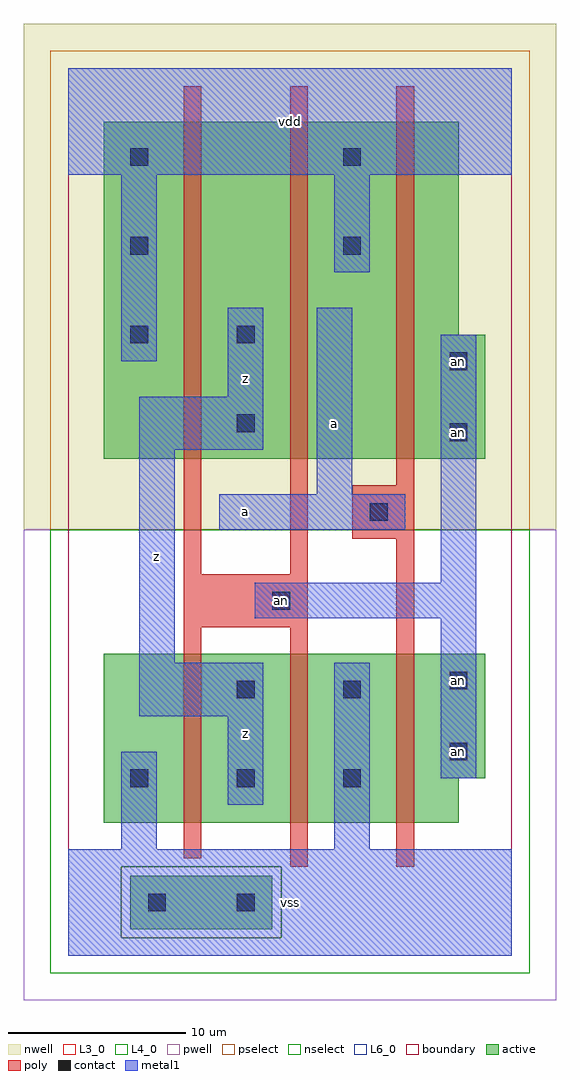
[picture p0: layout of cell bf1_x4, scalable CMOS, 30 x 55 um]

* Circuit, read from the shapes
.subckt bf1_x4 a an vdd vss z
M1 z an vss vss nfet w=9.5u l=1u m=2
M2 an a vss vss nfet w=9.5u l=1u
M3 z an vdd n1 pfet w=19u l=1u m=2
M4 an a vdd n1 pfet w=19u l=1u
.ends

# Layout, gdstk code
import gdstk
lib = gdstk.Library(unit=1e-6, precision=1e-09)
def R(c, l, rs):  # rectangles x0, y0, x1, y1
    for r in rs: c.add(gdstk.rectangle(r[:2], r[2:], *l))
def A(c, l, x, y, w, h, nx, ny, dx, dy):  # array of equal rectangles
    R(c, l, [(x+i*dx, y+j*dy, x+i*dx+w, y+j*dy+h) for i in range(nx) for j in range(ny)])
L3_0 = (3, 0)
L4_0 = (4, 0)
L6_0 = (6, 0)
contact = (25, 0)
pwell = (41, 0)
nwell = (42, 0)
active = (43, 0)
pselect = (44, 0)
nselect = (45, 0)
poly = (46, 0)
metal1 = (49, 0)
boundary = (63, 0)

bf1_x4 = lib.new_cell('bf1_x4')
R(bf1_x4, L3_0, [(2,7.5,22,10), (2,10,23.5,17)])
R(bf1_x4, L4_0, [(2,28,23.5,35), (2,35,22,47)])
R(bf1_x4, L6_0, [(3.5,1.5,11.5,4.5)])
A(bf1_x4, contact, 3.5, 9.5, 1, 1, 3, 1, 6, 0)
A(bf1_x4, contact, 3.5, 34.5, 1, 1, 1, 3, 0, 5)
R(bf1_x4, contact, [(4.5,2.5,5.5,3.5), (9.5,2.5,10.5,3.5), (21.5,11,22.5,12), (9.5,14.5,10.5,15.5), (15.5,14.5,16.5,15.5), (21.5,15,22.5,16), (11.5,19.5,12.5,20.5), (17,24.5,18,25.5), (21.5,29,22.5,30), (9.5,29.5,10.5,30.5), (21.5,33,22.5,34), (9.5,34.5,10.5,35.5), (15.5,39.5,16.5,40.5), (15.5,44.5,16.5,45.5)])
R(bf1_x4, pwell, [(-2.5,-2.5,27.5,24)])
R(bf1_x4, nwell, [(-2.5,24,27.5,52.5)])
R(bf1_x4, active, [(3.5,1.5,11.5,4.5), (2,7.5,22,10), (2,10,23.5,17), (2,28,23.5,35), (2,35,22,47)])
R(bf1_x4, pselect, [(3,1,12,5), (-1,24,26,51)])
R(bf1_x4, nselect, [(-1,-1,26,1), (-1,1,3,5), (12,1,26,5), (-1,5,26,24)])
R(bf1_x4, poly, [(12.5,5,13.5,18.5), (18.5,5,19.5,23.5), (6.5,5.5,7.5,18.5), (6.5,18.5,13.5,21.5), (6.5,21.5,7.5,49), (12.5,21.5,13.5,49), (16,23.5,19.5,26.5), (18.5,26.5,19.5,49)])
R(bf1_x4, metal1, [(0,0,25,6), (0,0,25,6), (3,6,5,11.5), (3,6,5,11.5), (15,6,17,16.5), (15,6,17,16.5), (9,8.5,11,13.5), (9,8.5,11,13.5), (21,10,23,19), (21,10,23,19), (4,13.5,11,16.5), (4,13.5,11,16.5), (4,16.5,6,28.5), (4,16.5,6,28.5), (10.5,19,23,21), (10.5,19,23,21), (21,21,23,35), (21,21,23,35), (8.5,24,19,26), (8.5,24,19,26), (14,26,16,36.5), (14,26,16,36.5), (4,28.5,11,31.5), (4,28.5,11,31.5), (9,31.5,11,36.5), (9,31.5,11,36.5), (3,33.5,5,44), (3,33.5,5,44), (15,38.5,17,44), (15,38.5,17,44), (0,44,25,50), (0,44,25,50)])
R(bf1_x4, boundary, [(0,0,25,50)])
bf1_x4.add(gdstk.Label('an', (12,20), layer=49, texttype=0))
bf1_x4.add(gdstk.Label('an', (22,11.5), layer=49, texttype=0))
bf1_x4.add(gdstk.Label('an', (22,15.5), layer=49, texttype=0))
bf1_x4.add(gdstk.Label('an', (22,29.5), layer=49, texttype=0))
bf1_x4.add(gdstk.Label('an', (22,33.5), layer=49, texttype=0))
bf1_x4.add(gdstk.Label('z', (10,12.5), layer=49, texttype=0))
bf1_x4.add(gdstk.Label('z', (5,22.5), layer=49, texttype=0))
bf1_x4.add(gdstk.Label('a', (10,25), layer=49, texttype=0))
bf1_x4.add(gdstk.Label('z', (10,32.5), layer=49, texttype=0))
bf1_x4.add(gdstk.Label('vss', (12.5,3), layer=49, texttype=0))
bf1_x4.add(gdstk.Label('a', (15,30), layer=49, texttype=0))
bf1_x4.add(gdstk.Label('vdd', (12.5,47), layer=49, texttype=0))

lib.write_gds('bf1_x4.gds')
